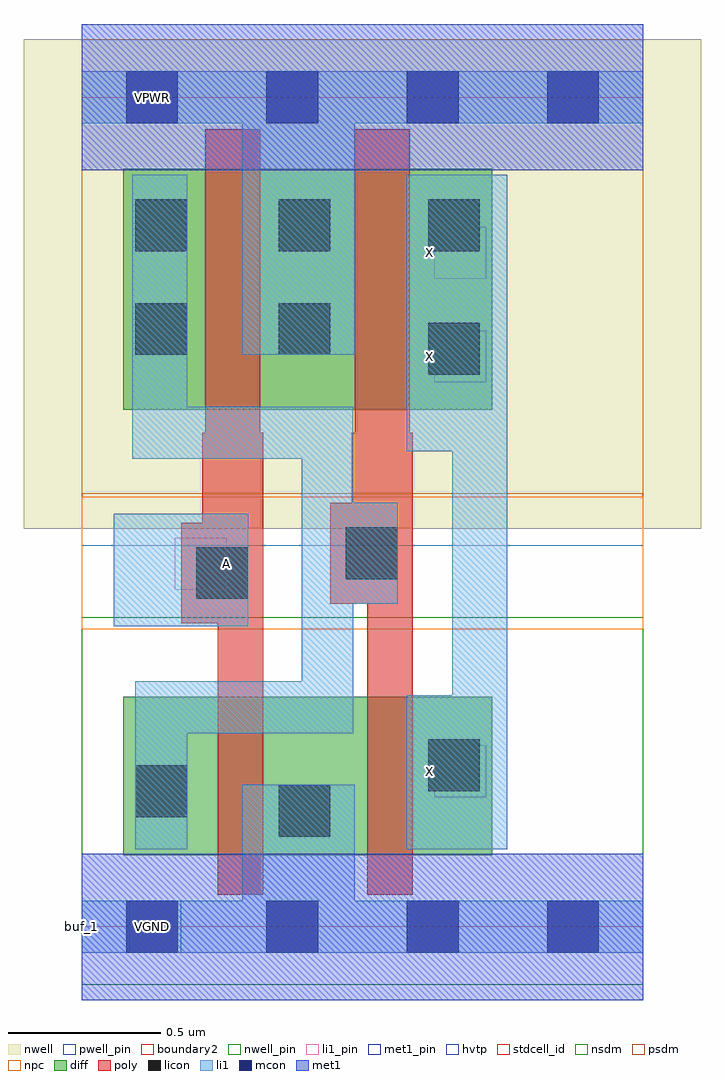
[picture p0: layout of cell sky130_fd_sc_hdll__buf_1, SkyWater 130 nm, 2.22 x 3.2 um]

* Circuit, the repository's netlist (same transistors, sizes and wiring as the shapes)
* Copyright 2020 The SkyWater PDK Authors
*
* Licensed under the Apache License, Version 2.0 (the "License");
* you may not use this file except in compliance with the License.
* You may obtain a copy of the License at
*
*     https://www.apache.org/licenses/LICENSE-2.0
*
* Unless required by applicable law or agreed to in writing, software
* distributed under the License is distributed on an "AS IS" BASIS,
* WITHOUT WARRANTIES OR CONDITIONS OF ANY KIND, either express or implied.
* See the License for the specific language governing permissions and
* limitations under the License.
*
* SPDX-License-Identifier: Apache-2.0

.SUBCKT sky130_fd_sc_hdll__buf_1 A VGND VNB VPB VPWR X
*.PININFO A:I VGND:I VNB:I VPB:I VPWR:I X:O
MMIN1 Ab A VGND VNB sky130_fd_pr__nfet_01v8 m=1 w=0.52U l=0.15U mult=1 sa=0.265
+ sb=0.265 sd=0.28 area=0.063 perim=1.14
MMIN2 X Ab VGND VNB sky130_fd_pr__nfet_01v8 m=1 w=0.52U l=0.15U mult=1 sa=0.265
+ sb=0.265 sd=0.28 area=0.063 perim=1.14
MMIP1 Ab A VPWR VPB sky130_fd_pr__pfet_01v8_hvt m=1 w=0.79U l=0.18U mult=1 sa=0.265
+ sb=0.265 sd=0.28 area=0.063 perim=1.14
MMIP2 X Ab VPWR VPB sky130_fd_pr__pfet_01v8_hvt m=1 w=0.79U l=0.18U mult=1 sa=0.265
+ sb=0.265 sd=0.28 area=0.063 perim=1.14
.ENDS sky130_fd_sc_hdll__buf_1

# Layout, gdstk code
import gdstk
lib = gdstk.Library(unit=1e-6, precision=1e-09)
def R(c, l, rs):  # rectangles x0, y0, x1, y1
    for r in rs: c.add(gdstk.rectangle(r[:2], r[2:], *l))
def A(c, l, x, y, w, h, nx, ny, dx, dy):  # array of equal rectangles
    R(c, l, [(x+i*dx, y+j*dy, x+i*dx+w, y+j*dy+h) for i in range(nx) for j in range(ny)])
def P(c, l, *ps):  # polygons
    for p in ps: c.add(gdstk.Polygon(p, *l))
nwell_pin = (64, 16)
nwell = (64, 20)
diff = (65, 20)
poly = (66, 20)
licon = (66, 44)
li1_pin = (67, 16)
li1 = (67, 20)
mcon = (67, 44)
met1_pin = (68, 16)
met1 = (68, 20)
hvtp = (78, 44)
stdcell_id = (81, 4)
nsdm = (93, 44)
psdm = (94, 20)
npc = (95, 20)
pwell_pin = (122, 16)
boundary2 = (236, 0)

sky130_fd_sc_hdll__buf_1 = lib.new_cell('sky130_fd_sc_hdll__buf_1')
R(sky130_fd_sc_hdll__buf_1, nwell_pin, [(0.145,2.635,0.315,2.805)])
R(sky130_fd_sc_hdll__buf_1, nwell, [(-0.19,1.305,2.03,2.91)])
R(sky130_fd_sc_hdll__buf_1, diff, [(0.135,0.235,1.345,0.755), (0.135,1.695,1.345,2.485)])
P(sky130_fd_sc_hdll__buf_1, poly, [(0.595,1.62),(0.585,1.62),(0.585,2.615),(0.405,2.615),(0.405,1.62),(0.395,1.62),(0.395,1.325),(0.325,1.325),(0.325,0.995),(0.445,0.995),(0.445,0.105),(0.595,0.105)],
  [(1.085,1.62),(1.075,1.62),(1.075,2.615),(0.895,2.615),(0.895,1.62),(0.885,1.62),(0.885,1.39),(0.815,1.39),(0.815,1.06),(0.935,1.06),(0.935,0.105),(1.085,0.105)])
R(sky130_fd_sc_hdll__buf_1, licon, [(0.645,0.295,0.815,0.465), (0.175,0.36,0.345,0.53), (1.135,0.445,1.305,0.615), (0.375,1.075,0.545,1.245), (0.865,1.14,1.035,1.31), (1.135,1.81,1.305,1.98), (0.175,1.875,0.345,2.045), (0.645,1.875,0.815,2.045), (0.175,2.215,0.345,2.385), (0.645,2.215,0.815,2.385), (1.135,2.215,1.305,2.385)])
R(sky130_fd_sc_hdll__buf_1, li1_pin, [(0.155,-0.085,0.325,0.085), (1.155,0.425,1.325,0.595), (0.305,1.105,0.475,1.275), (1.155,1.785,1.325,1.955), (1.155,2.125,1.325,2.295), (0.145,2.635,0.315,2.805)])
R(sky130_fd_sc_hdll__buf_1, li1, [(0.105,0.985,0.545,1.355)])
P(sky130_fd_sc_hdll__buf_1, li1, [(1.395,2.465),(1.065,2.465),(1.065,1.56),(1.215,1.56),(1.215,0.76),(1.065,0.76),(1.065,0.255),(1.395,0.255)],
  [(1.84,0.085),(0.895,0.085),(0.895,0.465),(0.525,0.465),(0.525,0.085),(0,0.085),(0,-0.085),(1.84,-0.085)],
  [(1.035,1.39),(0.89,1.39),(0.89,1.705),(0.345,1.705),(0.345,2.465),(0.165,2.465),(0.165,1.535),(0.72,1.535),(0.72,0.805),(0.175,0.805),(0.175,0.255),(0.345,0.255),(0.345,0.635),(0.89,0.635),(0.89,1.06),(1.035,1.06)],
  [(1.84,2.805),(0,2.805),(0,2.635),(0.525,2.635),(0.525,1.875),(0.895,1.875),(0.895,2.635),(1.84,2.635)])
A(sky130_fd_sc_hdll__buf_1, mcon, 0.145, -0.085, 0.17, 0.17, 4, 2, 0.46, 2.72)
R(sky130_fd_sc_hdll__buf_1, met1_pin, [(0.155,-0.085,0.325,0.085), (0.145,2.635,0.315,2.805)])
R(sky130_fd_sc_hdll__buf_1, met1, [(0,-0.24,1.84,0.24), (0,2.48,1.84,2.96)])
R(sky130_fd_sc_hdll__buf_1, hvtp, [(0,1.25,1.84,2.72)])
R(sky130_fd_sc_hdll__buf_1, stdcell_id, [(0,0,1.84,2.72)])
R(sky130_fd_sc_hdll__buf_1, nsdm, [(0,-0.19,1.84,1.015)])
R(sky130_fd_sc_hdll__buf_1, psdm, [(0,1.42,1.84,2.91)])
R(sky130_fd_sc_hdll__buf_1, npc, [(0,0.975,1.84,1.41)])
R(sky130_fd_sc_hdll__buf_1, pwell_pin, [(0.155,-0.085,0.325,0.085)])
R(sky130_fd_sc_hdll__buf_1, boundary2, [(0,0,1.84,2.72)])
sky130_fd_sc_hdll__buf_1.add(gdstk.Label('VGND', (0.23,0), layer=68, texttype=5))
sky130_fd_sc_hdll__buf_1.add(gdstk.Label('VPWR', (0.23,2.72), layer=68, texttype=5))
sky130_fd_sc_hdll__buf_1.add(gdstk.Label('VPWR', (0.23,2.72), layer=67, texttype=5))
sky130_fd_sc_hdll__buf_1.add(gdstk.Label('VGND', (0.23,0), layer=67, texttype=5))
sky130_fd_sc_hdll__buf_1.add(gdstk.Label('X', (1.14,0.51), layer=67, texttype=5))
sky130_fd_sc_hdll__buf_1.add(gdstk.Label('X', (1.14,1.87), layer=67, texttype=5))
sky130_fd_sc_hdll__buf_1.add(gdstk.Label('X', (1.14,2.21), layer=67, texttype=5))
sky130_fd_sc_hdll__buf_1.add(gdstk.Label('A', (0.475,1.19), layer=67, texttype=5))
sky130_fd_sc_hdll__buf_1.add(gdstk.Label('VPB', (0.23,2.72), layer=64, texttype=5))
sky130_fd_sc_hdll__buf_1.add(gdstk.Label('VNB', (0.23,0), layer=64, texttype=59))
sky130_fd_sc_hdll__buf_1.add(gdstk.Label('buf_1', (0,0), layer=83, texttype=44))

lib.write_gds('sky130_fd_sc_hdll__buf_1.gds')
